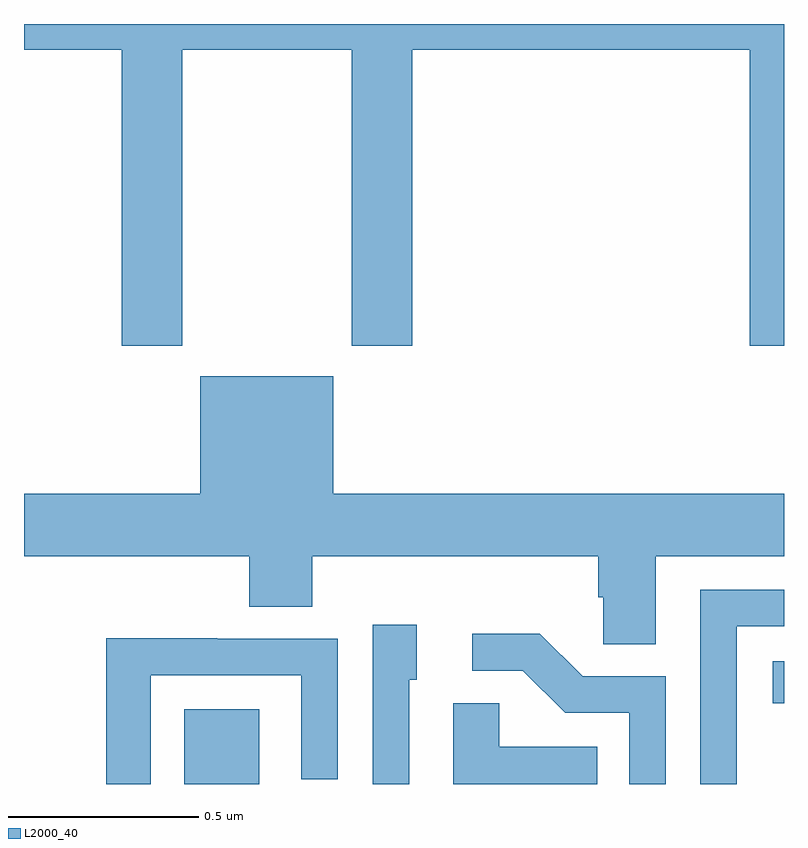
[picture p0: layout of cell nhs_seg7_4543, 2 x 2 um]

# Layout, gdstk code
import gdstk
lib = gdstk.Library(unit=1e-6, precision=1e-09)
def R(c, l, rs):  # rectangles x0, y0, x1, y1
    for r in rs: c.add(gdstk.rectangle(r[:2], r[2:], *l))
def P(c, l, *ps):  # polygons
    for p in ps: c.add(gdstk.Polygon(p, *l))
L2000_40 = (2000, 40)

nhs_seg7_4543 = lib.new_cell('nhs_seg7_4543')
R(nhs_seg7_4543, L2000_40, [(174.422,1016,174.619,1016.197), (175.971,1016.213,176,1016.323)])
P(nhs_seg7_4543, L2000_40, [(174.417,1017.932),(174.862,1017.932),(174.862,1017.153),(175.022,1017.153),(175.022,1017.932),(175.91,1017.932),(175.91,1017.153),(176,1017.153),(176,1018),(174,1018),(174,1017.932),(174.257,1017.932),(174.257,1017.153),(174.417,1017.153)],
  [(175.663,1016.6),(176,1016.6),(176,1016.764),(174.814,1016.764),(174.814,1017.073),(174.464,1017.073),(174.464,1016.764),(174,1016.764),(174,1016.6),(174.593,1016.6),(174.593,1016.467),(174.758,1016.467),(174.758,1016.6),(175.511,1016.6),(175.511,1016.491),(175.524,1016.491),(175.524,1016.368),(175.663,1016.368)],
  [(175.875,1016.415),(176,1016.415),(176,1016.511),(175.779,1016.511),(175.779,1016),(175.875,1016)],
  [(175.014,1016.274),(175.033,1016.274),(175.033,1016.419),(174.918,1016.419),(174.918,1016),(175.014,1016)],
  [(175.689,1016.283),(175.47,1016.283),(175.357,1016.396),(175.179,1016.396),(175.179,1016.298),(175.313,1016.298),(175.424,1016.187),(175.593,1016.187),(175.593,1016),(175.689,1016)],
  [(174.333,1016.286),(174.729,1016.286),(174.729,1016.013),(174.825,1016.013),(174.825,1016.382),(174.509,1016.382),(174.509,1016.384),(174.217,1016.384),(174.217,1016),(174.333,1016)],
  [(175.508,1016.098),(175.251,1016.098),(175.251,1016.213),(175.13,1016.213),(175.13,1016),(175.508,1016)])

lib.write_gds('nhs_seg7_4543.gds')
